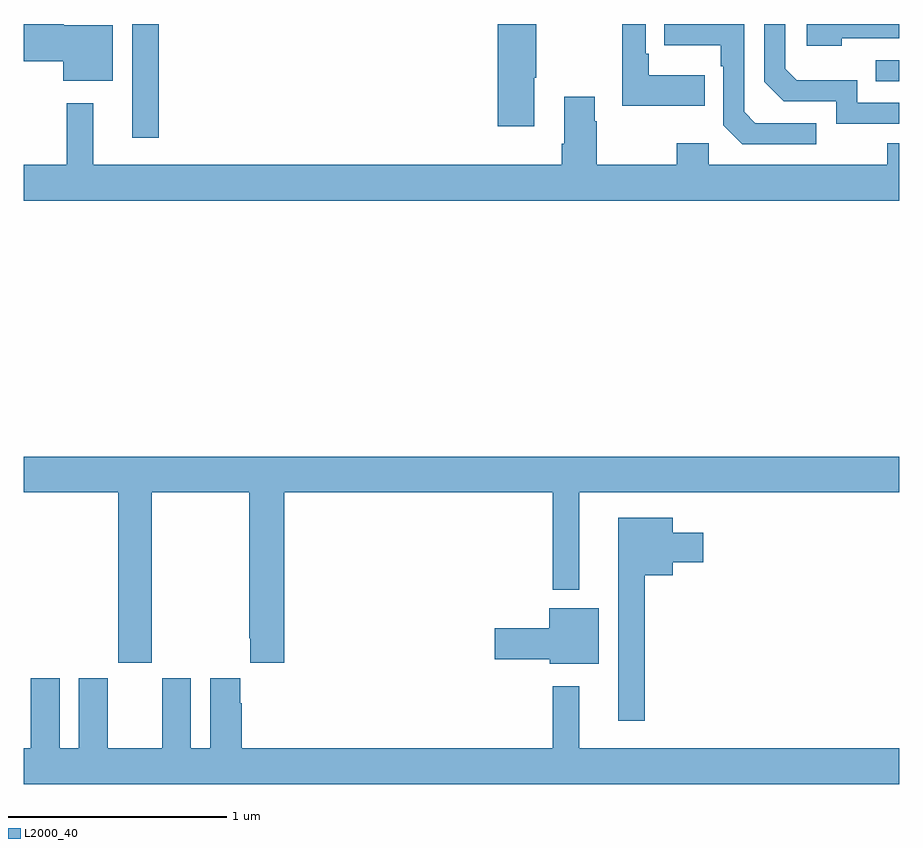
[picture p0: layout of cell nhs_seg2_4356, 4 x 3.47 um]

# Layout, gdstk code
import gdstk
lib = gdstk.Library(unit=1e-6, precision=1e-09)
def R(c, l, rs):  # rectangles x0, y0, x1, y1
    for r in rs: c.add(gdstk.rectangle(r[:2], r[2:], *l))
def P(c, l, *ps):  # polygons
    for p in ps: c.add(gdstk.Polygon(p, *l))
L2000_40 = (2000, 40)

nhs_seg2_4356 = lib.new_cell('nhs_seg2_4356')
R(nhs_seg2_4356, L2000_40, [(347.495,625.281,347.617,625.8), (350.893,625.539,351,625.635)])
P(nhs_seg2_4356, L2000_40, [(347.407,625.795),(347.184,625.795),(347.184,625.8),(347,625.8),(347,625.63),(347.18,625.63),(347.18,625.541),(347.407,625.541)],
  [(350.111,625.567),(349.855,625.567),(349.855,625.663),(349.842,625.663),(349.842,625.8),(349.734,625.8),(349.734,625.427),(350.111,625.427)],
  [(349.333,625.555),(349.341,625.555),(349.341,625.8),(349.166,625.8),(349.166,625.332),(349.333,625.332)],
  [(350.738,625.734),(351,625.734),(351,625.8),(350.577,625.8),(350.577,625.7),(350.738,625.7)],
  [(350.62,625.347),(350.343,625.347),(350.292,625.398),(350.292,625.8),(349.927,625.8),(349.927,625.703),(350.184,625.703),(350.184,625.607),(350.196,625.607),(350.196,625.338),(350.283,625.251),(350.62,625.251)],
  [(351,625.44),(350.808,625.44),(350.808,625.543),(350.531,625.543),(350.478,625.596),(350.478,625.8),(350.382,625.8),(350.382,625.536),(350.472,625.446),(350.712,625.446),(350.712,625.344),(351,625.344)],
  [(351,625.255),(350.944,625.255),(350.944,625.156),(350.13,625.156),(350.13,625.255),(349.984,625.255),(349.984,625.156),(349.617,625.156),(349.617,625.355),(349.609,625.355),(349.609,625.468),(349.469,625.468),(349.469,625.252),(349.457,625.252),(349.457,625.156),(347.317,625.156),(347.317,625.438),(347.196,625.438),(347.196,625.156),(347,625.156),(347,624.992),(351,624.992)],
  [(347.586,623.66),(348.031,623.66),(348.031,622.993),(348.035,622.993),(348.035,622.881),(348.191,622.881),(348.191,623.66),(349.416,623.66),(349.416,623.216),(349.537,623.216),(349.537,623.66),(351,623.66),(351,623.824),(347,623.824),(347,623.66),(347.431,623.66),(347.431,622.881),(347.586,622.881)],
  [(349.837,623.282),(349.966,623.282),(349.966,623.342),(350.104,623.342),(350.104,623.476),(349.966,623.476),(349.966,623.545),(349.715,623.545),(349.715,622.617),(349.837,622.617)],
  [(349.627,623.131),(349.4,623.131),(349.4,623.039),(349.152,623.039),(349.152,622.897),(349.404,622.897),(349.404,622.877),(349.627,622.877)],
  [(351,622.492),(349.537,622.492),(349.537,622.774),(349.416,622.774),(349.416,622.492),(347.996,622.492),(347.996,622.697),(347.989,622.697),(347.989,622.81),(347.852,622.81),(347.852,622.492),(347.764,622.492),(347.764,622.81),(347.633,622.81),(347.633,622.492),(347.383,622.492),(347.383,622.81),(347.252,622.81),(347.252,622.492),(347.164,622.492),(347.164,622.81),(347.033,622.81),(347.033,622.492),(347,622.492),(347,622.328),(351,622.328)])

lib.write_gds('nhs_seg2_4356.gds')
